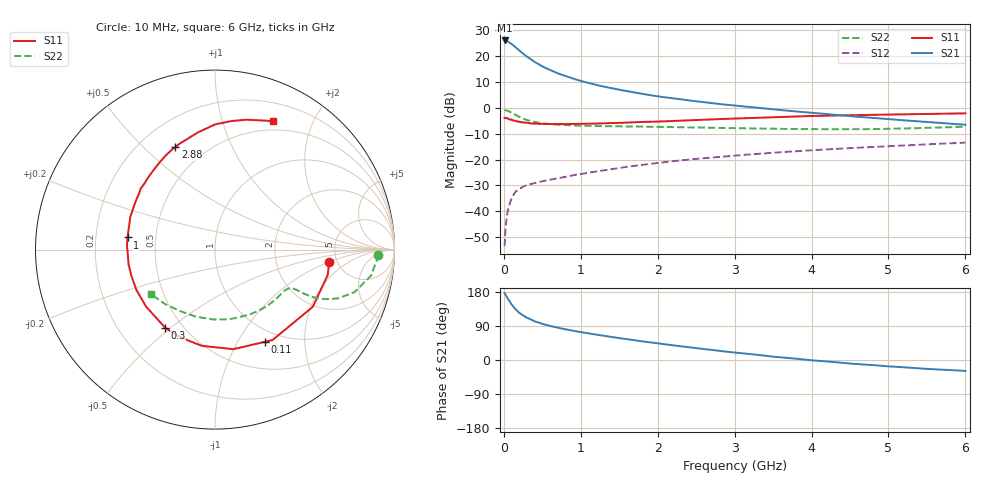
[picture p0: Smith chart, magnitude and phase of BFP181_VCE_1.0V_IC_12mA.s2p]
! Infineon Technologies  Discrete & RF Semiconductors
! BFP181
! VCE = 1.0 V,  IC =  12 mA
! Common Emitter S-Parameters:  Jan 2016
# GHz  S  MA  R  50
!  f  S11  S21  S12  S22
! GHz  MAG  ANG  MAG  ANG  MAG  ANG  MAG  ANG
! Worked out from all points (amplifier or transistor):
!   210 points, 10 MHz to 6 GHz, reference 50 ohm
!   highest |S21| = 26.1 dB at 10 MHz (marker M1)
!   |S21| within 3 dB of that: start of sweep to 166.8 MHz
!   unconditionally stable (mu >= 1): start of sweep to 13.67 MHz; 436.1 MHz to end of sweep
!   at 185 MHz: K = 0.54, MSG = 27.2 dB, |S12| = -31.7 dB
!   at 1.52 GHz: K = 1.77, MAG = 10.0 dB, |S12| = -23.1 dB
!   at 6 GHz: K = 1.48, MAG = -0.6 dB, |S12| = -13.5 dB
!   S11 on the Smith chart (normalised r, x): 10 MHz: 4.30, -1.02; 110 MHz: 0.84, -1.31; 300 MHz: 0.40, -0.48; 1 GHz: 0.34, +0.06; 2.88 GHz: 0.34, +0.63; 6 GHz: 0.40, +1.48
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0.01  0.6402 -6.3  20.27 176.4  0.0021 76.0  0.9077 -1.8
0.02  0.6438 -12.7  20.2 173.1  0.0041 80.7  0.9035 -3.8
0.05  0.6314 -30.3  19.58 162.1  0.01 76.9  0.8809 -9.5
0.1  0.5972 -57.5  17.38 146.6  0.0177 63.6  0.8126 -17.0
0.11  0.5838 -61.7  16.86 144.4  0.0189 61.7  0.797 -17.9
0.15  0.5641 -79.6  15.09 134.1  0.0237 56.1  0.7365 -21.7
0.2  0.541 -97.8  13.02 124.4  0.0269 50.8  0.6716 -24.3
0.26  0.5225 -114.1  10.95 116.0  0.0303 46.9  0.6124 -25.8
0.3  0.5158 -122.7  9.88 111.5  0.0321 45.3  0.5838 -26.2
0.4  0.4984 -140.4  7.797 102.0  0.0349 44.2  0.5337 -26.4
0.5  0.4923 -152.7  6.37 95.2  0.0379 42.8  0.5032 -26.3
0.6  0.4881 -162.2  5.439 89.8  0.0407 44.0  0.4847 -26.6
0.7  0.4886 -170.0  4.673 85.1  0.0432 45.1  0.4733 -27.0
1  0.492 172.1  3.326 73.4  0.0522 47.6  0.4532 -29.6
1.02  0.4922 171.1  3.269 72.7  0.0529 47.6  0.4524 -29.8
1.5  0.513 151.2  2.252 57.7  0.0689 48.8  0.44 -36.4
2.02  0.5464 133.5  1.662 43.4  0.0868 47.8  0.4292 -45.5
2.88  0.6136 111.1  1.159 22.3  0.1154 43.1  0.4078 -63.2
3.1  0.629 106.1  1.074 17.7  0.1225 41.6  0.4014 -68.3
4.1  0.7018 88.4  0.782 -2.2  0.1544 34.1  0.3873 -94.3
5.1  0.7481 75.1  0.59 -17.9  0.1843 26.2  0.3958 -122.2
6  0.7851 65.7  0.472 -28.8  0.2125 18.3  0.4348 -145.2
